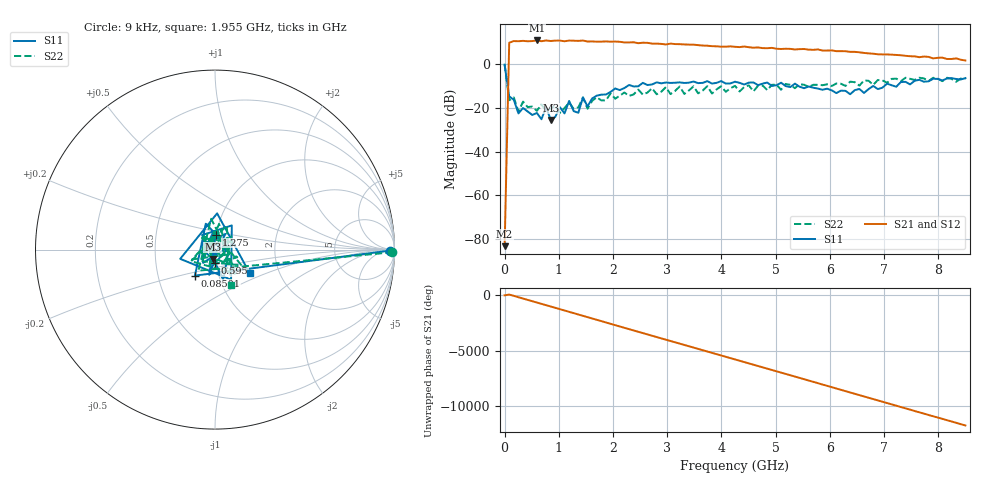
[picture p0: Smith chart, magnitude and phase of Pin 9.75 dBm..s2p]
! RsaToolbox (C) 2013 Rohde & Schwarz America
! Number of points: 101
! Number of ports: 2
! Balanced ports?: 0
# Hz S RI R 50
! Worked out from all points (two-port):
!   101 points, 9 kHz to 8.5 GHz, reference 50 ohm
!   highest |S21| = 10.81 dB at 595 MHz (marker M1); lowest = -83.2 dB at 9 kHz (marker M2)
!   |S21| within 3 dB of the highest: 83.21 MHz to 4.311 GHz (4.228 GHz wide, 192 % of centre); 4.347 GHz to 4.482 GHz (134.3 MHz wide, 3.04 % of centre)
!   lowest |S11| = -25.5 dB at 850 MHz (marker M3), VSWR 1.11, Z = 48.5 - j5.03 ohm
!   |S11| at or under -10 dB: 57.18 MHz to 2.267 GHz (2.21 GHz wide, 190 % of centre); 2.353 GHz to 2.473 GHz (119.8 MHz wide, 4.97 % of centre); 5.421 GHz to 6.799 GHz (1.378 GHz wide, 22.6 % of centre) (the widest 3 of 6)
!   |S22| runs from -22.3 to -0.1 dB; largest |S21 - S12| = 0
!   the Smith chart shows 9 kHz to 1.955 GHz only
!   S11 on the Smith chart (normalised r, x): 9 kHz: 70, -15; 85.01 MHz: 0.77, -0.23; 595 MHz: 0.99, -0.15; 1.275 GHz: 0.99, +0.17; 1.955 GHz: 1.41, -0.39
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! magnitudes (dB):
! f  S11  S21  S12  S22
! 9 kHz  -0.2  -83.2  -83.2  -0.1
! 85.01 MHz  -14.8  9.8  9.8  -16.5
! 170 MHz  -16.3  10.5  10.5  -15.2
! 255 MHz  -22.5  10.4  10.4  -21.7
! 340 MHz  -20.1  10.6  10.6  -17.2
! 595 MHz  -22.3  10.8  10.8  -21.4
! 680 MHz  -25.2  10.5  10.5  -18.4
! 765 MHz  -19.6  10.8  10.8  -21.3
! 850 MHz  -25.5  10.6  10.6  -20.2
! 1.02 GHz  -19.7  10.8  10.8  -22.3
! 1.105 GHz  -22.5  10.4  10.4  -20.1
! 1.19 GHz  -16.8  10.8  10.8  -17.6
! 1.275 GHz  -21.5  10.7  10.7  -20.5
! 1.36 GHz  -22.2  10.6  10.6  -19.8
! 1.445 GHz  -15.2  10.8  10.8  -15.3
! 1.53 GHz  -19.3  10.3  10.3  -20.4
! 1.955 GHz  -12.7  10.2  10.2  -13.4
! 2.89 GHz  -8.8  9.2  9.2  -12.6
! 4.25 GHz  -8.0  7.9  7.9  -9.9
! 5.695 GHz  -10.8  6.5  6.5  -9.4
! 7.14 GHz  -9.7  4.3  4.3  -6.7
! 8.5 GHz  -6.4  1.6  1.6  -6.7
